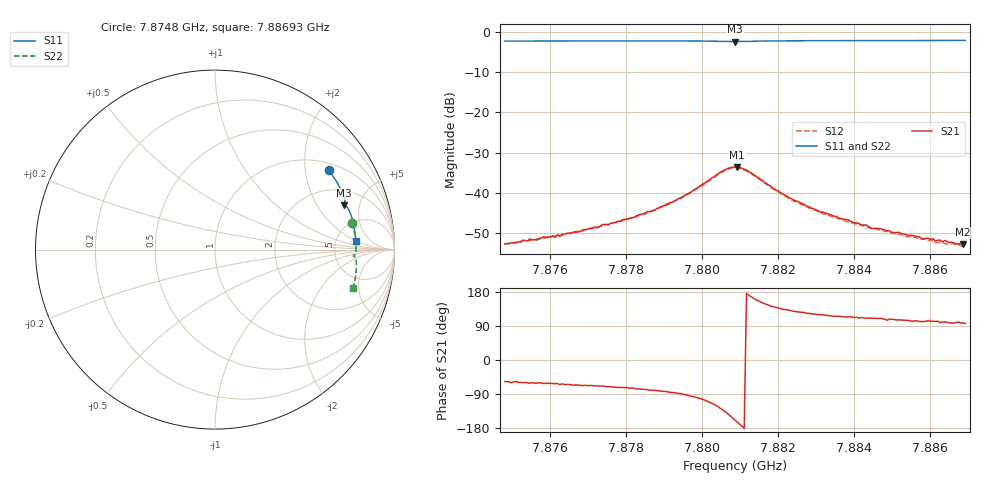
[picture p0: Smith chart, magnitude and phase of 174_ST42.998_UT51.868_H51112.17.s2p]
#  HZ  S  DB  R  50.00
! Rohde & Schwarz Vector Network Analyzer
! Rohde-Schwarz,ZNB20-2Port,1311601062101988,3.16
! Created: UTC 1/12/2023, 6:42:17 PM
! freq[Hz]  db:S11  ang:S11  db:S21  ang:S21  db:S12  ang:S12  db:S22  ang:S22
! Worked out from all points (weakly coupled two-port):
!   201 points, 7.8748 GHz to 7.88693 GHz, reference 50 ohm
!   highest |S21| = -33.63 dB at 7.88092 GHz (marker M1); lowest = -52.9 dB at 7.88687 GHz (marker M2)
!   lowest |S11| = -2.4 dB at 7.88086 GHz (marker M3), VSWR 7.40, Z = 150 + j178 ohm
!   |S11| at or under -10 dB: nowhere
!   |S22| runs from -2.3 to -1.9 dB; largest |S21 - S12| = 0.0013
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7.874796e9  -2.24 35.0  -52.76 -56.8  -52.81 -61.3  -2.17 11.1
7.875463e9  -2.23 33.2  -51.51 -60.9  -51.92 -62.3  -2.16 9.5
7.875645e9  -2.22 32.7  -51.81 -61.0  -51.49 -63.7  -2.15 9.0
7.875827e9  -2.22 32.2  -50.96 -62.1  -51.38 -64.0  -2.15 8.6
7.87613e9  -2.21 31.4  -51.13 -62.4  -50.72 -66.6  -2.14 7.9
7.876191e9  -2.21 31.2  -50.43 -62.1  -50.89 -65.5  -2.14 7.8
7.876252e9  -2.21 31.0  -50.80 -65.2  -50.78 -65.0  -2.13 7.7
7.876858e9  -2.21 29.4  -49.22 -67.9  -49.54 -68.4  -2.12 6.2
7.878132e9  -2.19 25.9  -46.38 -74.0  -46.23 -77.7  -2.09 3.2
7.87886e9  -2.19 23.9  -43.71 -81.5  -43.82 -85.0  -2.08 1.5
7.879648e9  -2.21 21.6  -40.11 -94.1  -40.30 -97.1  -2.09 -0.5
7.880558e9  -2.32 19.2  -34.43 -133.0  -34.69 -136.4  -2.22 -2.5
7.880861e9  -2.36 19.0  -33.64 -158.7  -33.79 -162.2  -2.25 -2.6
7.880922e9  -2.36 18.9  -33.63 -164.4  -33.83 -167.5  -2.26 -2.6
7.881286e9  -2.29 18.6  -35.06 166.7  -35.25 163.6  -2.19 -2.8
7.882196e9  -2.17 16.1  -40.74 132.7  -40.93 129.3  -2.05 -4.8
7.882924e9  -2.14 14.0  -44.00 121.6  -44.30 118.5  -2.01 -6.5
7.884501e9  -2.11 9.8  -48.97 110.1  -48.97 106.7  -1.97 -10.2
7.884925e9  -2.10 8.7  -49.45 108.0  -49.84 103.8  -1.96 -11.1
7.885835e9  -2.09 6.3  -51.56 101.9  -51.43 97.8  -1.95 -13.1
7.886866e9  -2.09 3.6  -52.89 98.0  -53.32 95.4  -1.95 -15.3
7.886927e9  -2.08 3.5  -52.85 96.4  -53.28 94.4  -1.95 -15.5
